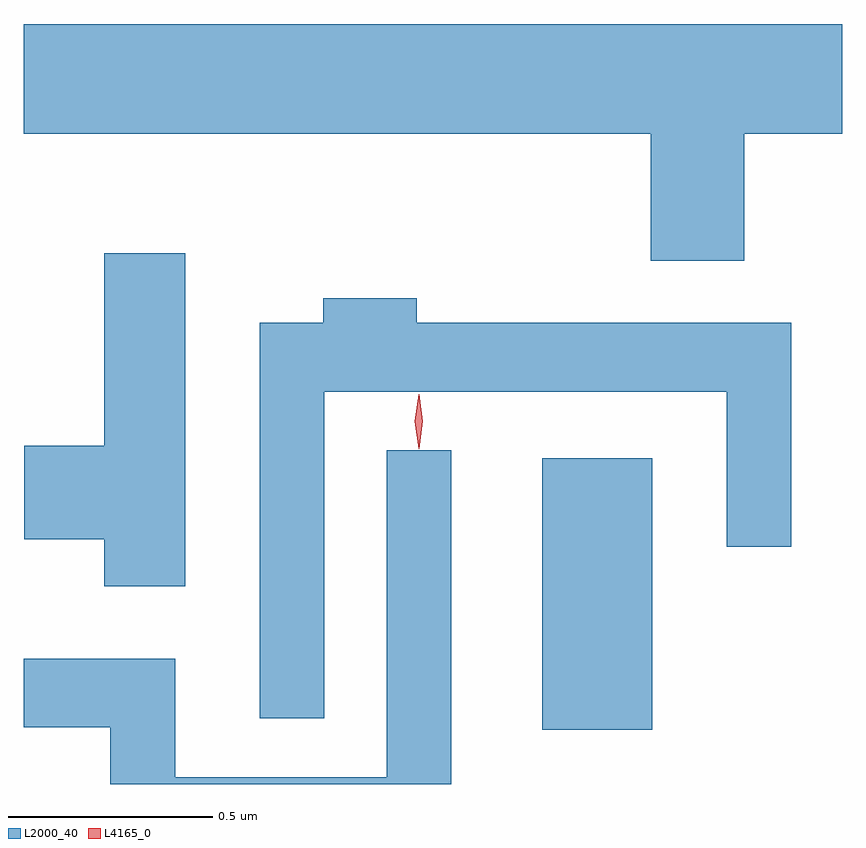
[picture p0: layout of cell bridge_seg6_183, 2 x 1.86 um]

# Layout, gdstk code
import gdstk
lib = gdstk.Library(unit=1e-6, precision=1e-09)
def R(c, l, rs):  # rectangles x0, y0, x1, y1
    for r in rs: c.add(gdstk.rectangle(r[:2], r[2:], *l))
def P(c, l, *ps):  # polygons
    for p in ps: c.add(gdstk.Polygon(p, *l))
L2000_40 = (2000, 40)
L4165_0 = (4165, 0)

bridge_seg6_183 = lib.new_cell('bridge_seg6_183')
R(bridge_seg6_183, L2000_40, [(1080.316,1590.761,1080.584,1591.424)])
P(bridge_seg6_183, L2000_40, [(1080.809,1592.216),(1081.049,1592.216),(1081.049,1592.484),(1079.049,1592.484),(1079.049,1592.216),(1080.581,1592.216),(1080.581,1591.906),(1080.809,1591.906)],
  [(1079.444,1591.924),(1079.246,1591.924),(1079.246,1591.454),(1079.051,1591.454),(1079.051,1591.226),(1079.246,1591.226),(1079.246,1591.111),(1079.444,1591.111)],
  [(1079.784,1591.586),(1080.766,1591.586),(1080.766,1591.208),(1080.924,1591.208),(1080.924,1591.754),(1080.009,1591.754),(1080.009,1591.814),(1079.781,1591.814),(1079.781,1591.754),(1079.626,1591.754),(1079.626,1590.788),(1079.784,1590.788)],
  [(1080.094,1591.443),(1079.936,1591.443),(1079.936,1590.644),(1079.419,1590.644),(1079.419,1590.934),(1079.049,1590.934),(1079.049,1590.766),(1079.261,1590.766),(1079.261,1590.628),(1080.094,1590.628)])
P(bridge_seg6_183, L4165_0, [(1080.014,1591.447),(1080.004,1591.514),(1080.014,1591.58),(1080.014,1591.58),(1080.015,1591.58),(1080.024,1591.514),(1080.015,1591.447),(1080.015,1591.447)])

lib.write_gds('bridge_seg6_183.gds')
